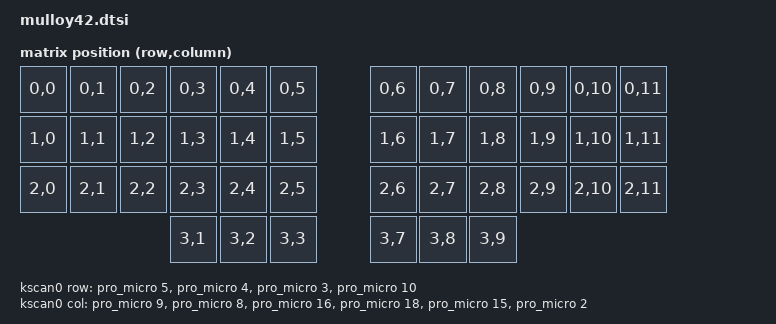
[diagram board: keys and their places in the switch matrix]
#include <dt-bindings/zmk/matrix_transform.h>
#include "mulloy42-layouts.dtsi"

/ {
    chosen {
        zmk,physical-layout = &foostan_corne_6col_layout;
        zmk,kscan = &kscan0;
    };

    kscan0: kscan0 {
        compatible = "zmk,kscan-gpio-matrix";
        diode-direction = "col2row";
        wakeup-source;

        row-gpios
            = <&pro_micro 5 (GPIO_ACTIVE_HIGH | GPIO_PULL_DOWN)>
            , <&pro_micro 4 (GPIO_ACTIVE_HIGH | GPIO_PULL_DOWN)>
            , <&pro_micro 3 (GPIO_ACTIVE_HIGH | GPIO_PULL_DOWN)>
            , <&pro_micro 10 (GPIO_ACTIVE_HIGH | GPIO_PULL_DOWN)>
            ;

        col-gpios
            = <&pro_micro 9 (GPIO_ACTIVE_HIGH | GPIO_PULL_DOWN)>
            , <&pro_micro 8 (GPIO_ACTIVE_HIGH | GPIO_PULL_DOWN)>
            , <&pro_micro 16 (GPIO_ACTIVE_HIGH | GPIO_PULL_DOWN)>
            , <&pro_micro 18 (GPIO_ACTIVE_HIGH | GPIO_PULL_DOWN)>
            , <&pro_micro 15 (GPIO_ACTIVE_HIGH | GPIO_PULL_DOWN)>
            , <&pro_micro 2 (GPIO_ACTIVE_HIGH | GPIO_PULL_DOWN)>
            ;
    };

    default_transform: keymap_transform0 {
        compatible = "zmk,matrix-transform";
        columns = <12>;
        rows = <4>;
        map = <
        //  LKey 1 |LKey 2 |LKey 3 |LKey 4 |LKey 5 |LKey 6      RKey 1 |RKey 2 |Rkey 3 |RKey 4 |RKey 5 | RKey 6
            RC(0,0) RC(0,1) RC(0,2) RC(0,3) RC(0,4) RC(0,5)     RC(0,6) RC(0,7) RC(0,8) RC(0,9) RC(0,10) RC(0,11)
        //  LKey 7 |LKey 8 |LKey 9 |LKey 10|LKey 11|LKey 12     RKey 7 |RKey 8 |Rkey 9 |RKey 10|RKey 11| RKey 12
            RC(1,0) RC(1,1) RC(1,2) RC(1,3) RC(1,4) RC(1,5)     RC(1,6) RC(1,7) RC(1,8) RC(1,9) RC(1,10) RC(1,11)
        //  LKey 13|LKey 14|LKey 15|LKey 16|LKey 17|LKey 18     RKey 13|RKey 14|Rkey 15|RKey 16|RKey 17| RKey 18
            RC(2,0) RC(2,1) RC(2,2) RC(2,3) RC(2,4) RC(2,5)     RC(2,6) RC(2,7) RC(2,8) RC(2,9) RC(2,10) RC(2,11)
        //         |       |       |LKey 16|LKey 17|LKey 18     RKey 16|Rkey 17|RKey 18
                                    RC(3,1) RC(3,2) RC(3,3)     RC(3,7) RC(3,8) RC(3,9)
        >;
    };
};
